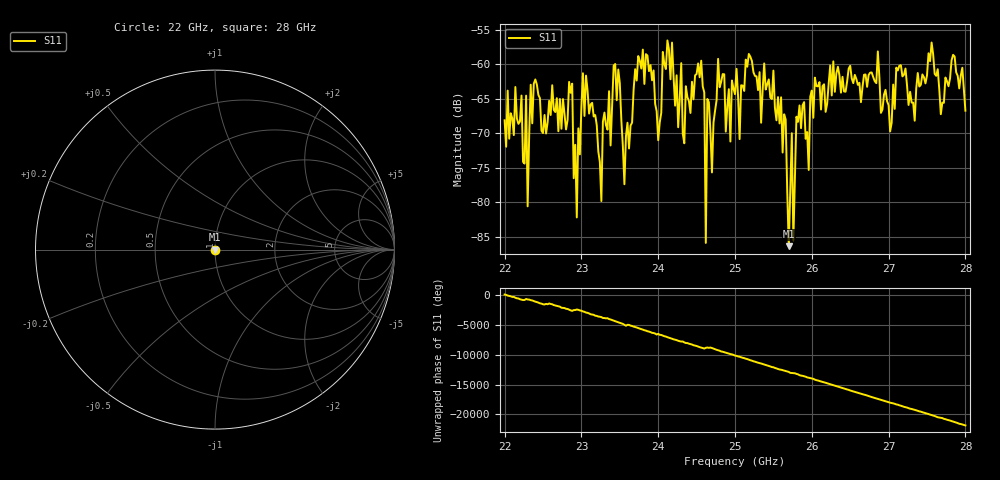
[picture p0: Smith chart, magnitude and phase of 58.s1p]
#  HZ  S  RI  R  50.00
! Rohde & Schwarz ZVA40 4Ports - Version 3.90 - 1145.1110k42 SN: 100403
! Date: 2023-10-04 11:21:15
! Measurement: S12
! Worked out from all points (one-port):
!   301 points, 22 GHz to 28 GHz, reference 50 ohm
!   lowest |S11| = -86.4 dB at 25.7 GHz (marker M1), VSWR 1.00, Z = 50 + j0.00479 ohm
!   |S11| at or under -10 dB: start of sweep to end of sweep
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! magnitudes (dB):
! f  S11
! 22 GHz  -68.1
! 22.28 GHz  -64.6
! 22.3 GHz  -80.6
! 22.34 GHz  -63.0
! 22.76 GHz  -65.1
! 22.88 GHz  -62.8
! 22.94 GHz  -82.2
! 23.06 GHz  -61.7
! 23.26 GHz  -79.8
! 23.5 GHz  -62.8
! 23.56 GHz  -77.4
! 23.8 GHz  -57.9
! 24.26 GHz  -69.1
! 24.56 GHz  -59.5
! 24.62 GHz  -85.9
! 24.64 GHz  -65.0
! 24.7 GHz  -75.7
! 24.78 GHz  -59.2
! 25 GHz  -64.4
! 25.5 GHz  -60.9
! 25.7 GHz  -86.4
! 25.76 GHz  -85.5
! 25.84 GHz  -66.0
! 25.96 GHz  -75.3
! 26.04 GHz  -62.0
! 26.5 GHz  -60.2
! 27.26 GHz  -65.9
! 28 GHz  -66.7
